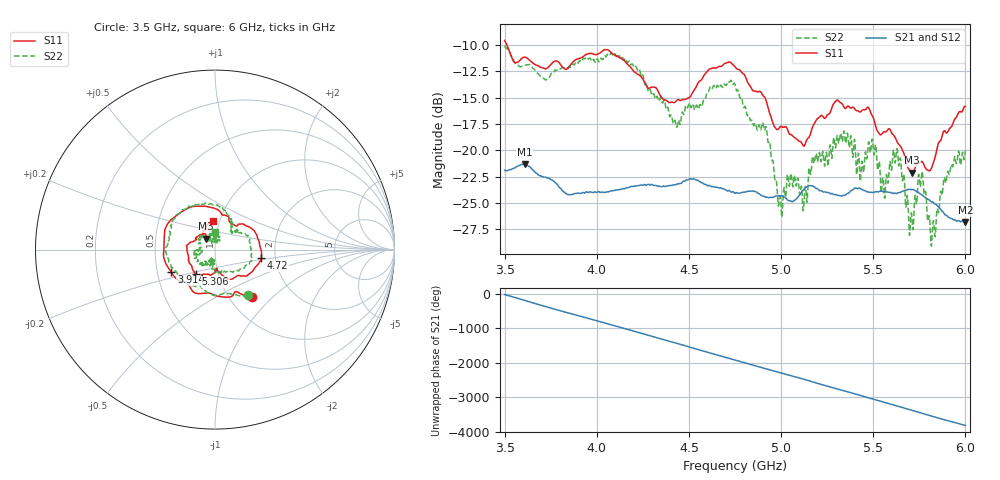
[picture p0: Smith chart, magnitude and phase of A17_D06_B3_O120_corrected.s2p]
! Created with skrf 1.9.0 (http://scikit-rf.org).
# Hz S RI R 50.0
!freq ReS11 ImS11 ReS21 ImS21 ReS12 ImS12 ReS22 ImS22
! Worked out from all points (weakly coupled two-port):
!   1601 points, 3.5 GHz to 6 GHz, reference 50 ohm
!   highest |S21| = -21.30 dB at 3.609 GHz (marker M1); lowest = -26.8 dB at 6 GHz (marker M2)
!   lowest |S11| = -22.1 dB at 5.711 GHz (marker M3), VSWR 1.17, Z = 45 + j5.49 ohm
!   |S11| at or under -10 dB: 3.513 GHz to end of sweep
!   |S22| runs from -29.1 to -10.1 dB; largest |S21 - S12| = 0.00093
!   S11 on the Smith chart (normalised r, x): 3.5 GHz: 1.27, -0.75; 3.914 GHz: 0.59, -0.16; 4.72 GHz: 1.68, -0.17; 5.306 GHz: 0.78, -0.22; 6 GHz: 0.93, +0.31
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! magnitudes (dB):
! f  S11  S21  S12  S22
! 3.5 GHz  -9.6  -21.9  -21.9  -10.1
! 3.609 GHz  -11.2  -21.3  -21.3  -11.9
! 3.914 GHz  -11.2  -24.1  -24.1  -11.6
! 3.917 GHz  -11.2  -24.1  -24.0  -11.6
! 4.127 GHz  -11.2  -23.7  -23.7  -11.3
! 4.334 GHz  -14.5  -23.4  -23.3  -15.2
! 4.442 GHz  -15.2  -23.2  -23.1  -17.2
! 4.72 GHz  -11.6  -23.8  -23.8  -13.5
! 4.75 GHz  -12.1  -24.1  -24.0  -13.8
! 4.911 GHz  -15.0  -24.4  -24.3  -18.1
! 4.995 GHz  -17.8  -24.3  -24.2  -24.4
! 5.045 GHz  -18.5  -24.8  -24.8  -23.4
! 5.13 GHz  -19.5  -23.6  -23.6  -23.6
! 5.167 GHz  -18.0  -23.4  -23.3  -21.1
! 5.306 GHz  -15.2  -24.3  -24.2  -18.6
! 5.584 GHz  -18.0  -24.0  -23.9  -22.4
! 5.638 GHz  -19.4  -24.0  -24.0  -21.4
! 5.711 GHz  -22.1  -23.7  -23.6  -26.6
! 5.756 GHz  -21.1  -24.2  -24.1  -23.5
! 5.825 GHz  -21.2  -24.9  -24.9  -26.8
! 5.894 GHz  -18.3  -26.1  -26.1  -23.1
! 6 GHz  -15.8  -26.8  -26.7  -20.0
